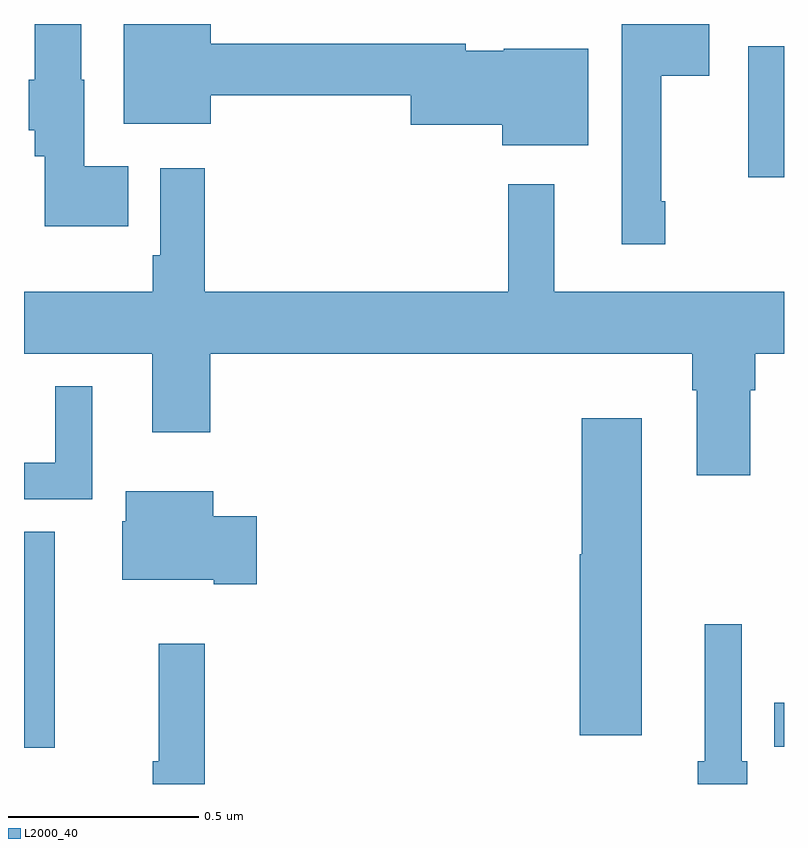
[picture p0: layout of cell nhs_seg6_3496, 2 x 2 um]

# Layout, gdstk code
import gdstk
lib = gdstk.Library(unit=1e-6, precision=1e-09)
def R(c, l, rs):  # rectangles x0, y0, x1, y1
    for r in rs: c.add(gdstk.rectangle(r[:2], r[2:], *l))
def P(c, l, *ps):  # polygons
    for p in ps: c.add(gdstk.Polygon(p, *l))
L2000_40 = (2000, 40)

nhs_seg6_3496 = lib.new_cell('nhs_seg6_3496')
R(nhs_seg6_3496, L2000_40, [(157,983.595,157.081,984.164), (158.974,983.598,159,983.714), (158.906,985.097,159,985.441)])
P(nhs_seg6_3496, L2000_40, [(158.485,985.435),(158.262,985.435),(158.262,985.429),(158.162,985.429),(158.162,985.448),(157.492,985.448),(157.492,985.5),(157.262,985.5),(157.262,985.238),(157.492,985.238),(157.492,985.312),(158.018,985.312),(158.018,985.235),(158.258,985.235),(158.258,985.181),(158.485,985.181)],
  [(158.687,985.033),(158.677,985.033),(158.677,985.364),(158.803,985.364),(158.803,985.5),(158.573,985.5),(158.573,984.921),(158.687,984.921)],
  [(157.274,985.126),(157.159,985.126),(157.159,985.353),(157.15,985.353),(157.15,985.5),(157.028,985.5),(157.028,985.353),(157.013,985.353),(157.013,985.221),(157.028,985.221),(157.028,985.152),(157.055,985.152),(157.055,984.968),(157.274,984.968)],
  [(158.911,984.536),(158.924,984.536),(158.924,984.632),(159,984.632),(159,984.796),(158.395,984.796),(158.395,985.078),(158.274,985.078),(158.274,984.796),(157.475,984.796),(157.475,985.12),(157.359,985.12),(157.359,984.892),(157.339,984.892),(157.339,984.796),(157,984.796),(157,984.632),(157.337,984.632),(157.337,984.426),(157.49,984.426),(157.49,984.632),(158.759,984.632),(158.759,984.536),(158.771,984.536),(158.771,984.312),(158.911,984.312)],
  [(157.18,984.547),(157.082,984.547),(157.082,984.345),(157,984.345),(157,984.249),(157.18,984.249)],
  [(158.626,984.463),(158.468,984.463),(158.468,984.105),(158.462,984.105),(158.462,983.628),(158.626,983.628)],
  [(157.612,984.204),(157.498,984.204),(157.498,984.271),(157.268,984.271),(157.268,984.192),(157.259,984.192),(157.259,984.038),(157.499,984.038),(157.499,984.026),(157.612,984.026)],
  [(158.903,983.56),(158.889,983.56),(158.889,983.92),(158.792,983.92),(158.792,983.56),(158.773,983.56),(158.773,983.5),(158.903,983.5)],
  [(157.475,983.869),(157.354,983.869),(157.354,983.56),(157.339,983.56),(157.339,983.5),(157.475,983.5)])

lib.write_gds('nhs_seg6_3496.gds')
